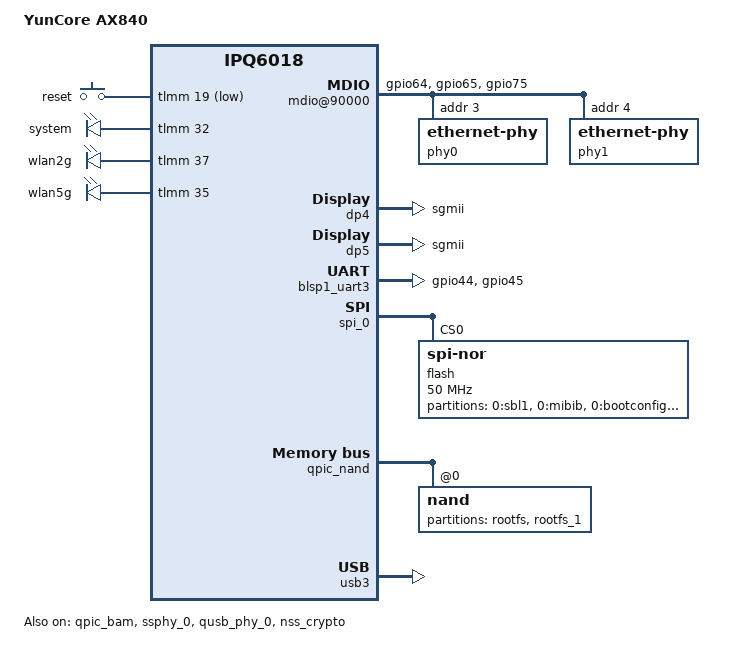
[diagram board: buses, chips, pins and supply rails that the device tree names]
/dts-v1/;
/*
 * Copyright (c) 2019-2021, The Linux Foundation. All rights reserved.
 *
 * Permission to use, copy, modify, and/or distribute this software for any
 * purpose with or without fee is hereby granted, provided that the above
 * copyright notice and this permission notice appear in all copies.
 *
 * THE SOFTWARE IS PROVIDED "AS IS" AND THE AUTHOR DISCLAIMS ALL WARRANTIES
 * WITH REGARD TO THIS SOFTWARE INCLUDING ALL IMPLIED WARRANTIES OF
 * MERCHANTABILITY AND FITNESS. IN NO EVENT SHALL THE AUTHOR BE LIABLE FOR
 * ANY SPECIAL, DIRECT, INDIRECT, OR CONSEQUENTIAL DAMAGES OR ANY DAMAGES
 * WHATSOEVER RESULTING FROM LOSS OF USE, DATA OR PROFITS, WHETHER IN AN
 * ACTION OF CONTRACT, NEGLIGENCE OR OTHER TORTIOUS ACTION, ARISING OUT OF
 * OR IN CONNECTION WITH THE USE OR PERFORMANCE OF THIS SOFTWARE.
 */

#include "ipq6018.dtsi"
#include "ipq6018-cpr-regulator.dtsi"
#include <dt-bindings/input/input.h>

/ {
	#address-cells = <0x2>;
	#size-cells = <0x2>;
	model = "YunCore AX840";
	compatible = "yuncore,ax840", "qcom,ipq6018-cp03", "qcom,ipq6018";
	interrupt-parent = <&intc>;
	qcom,msm-id = <0x1A5 0x0>;

	aliases {
		ethernet0 = &dp5;
		ethernet1 = &dp4;
		serial0 = &blsp1_uart3;
		led-boot = &led_system;
		led-failsafe = &led_system;
		led-running = &led_system;
		led-upgrade = &led_system;
	};

	chosen {
		stdout-path = "serial0:115200n8";
		bootargs-append = " root=/dev/ubiblock0_1 earlycon debug iomem=relaxed";
	};

	keys {
		compatible = "gpio-keys";

		reset {
			label = "reset";
			gpios = <&tlmm 19 GPIO_ACTIVE_LOW>;
			linux,code = <KEY_RESTART>;
		};
	};

	leds {
		compatible = "gpio-leds";

		led_system: led_system {
			label = "system";
			color = "red";
			gpios = <&tlmm 32 GPIO_ACTIVE_HIGH>;
		};

		led_wlan2g {
			label = "wlan2g";
			color = "green";
			gpios = <&tlmm 37 GPIO_ACTIVE_HIGH>;
		};

		led_wlan5g {
			label = "wlan5g";
			color = "blue";
			gpios = <&tlmm 35 GPIO_ACTIVE_HIGH>;
		};
	};
};

&tlmm {
	uart_pins: uart_pins {
		mux {
			pins = "gpio44", "gpio45";
			function = "blsp2_uart";
			drive-strength = <8>;
			bias-pull-down;
		};
	};

	spi_0_pins: spi_0_pins {
		mux {
			pins = "gpio38", "gpio39", "gpio40", "gpio41";
			function = "blsp0_spi";
			drive-strength = <8>;
			bias-pull-down;
		};
	};

	button_pins: button_pins {
		wps_button {
			pins = "gpio9";
			function = "gpio";
			drive-strength = <8>;
			bias-pull-down;
		};
	};

	mdio_pins: mdio_pinmux {
		mux_0 {
			pins = "gpio64";
			function = "mdc";
			drive-strength = <8>;
			bias-pull-up;
		};
		mux_1 {
			pins = "gpio65";
			function = "mdio";
			drive-strength = <8>;
			bias-pull-up;
		};
		mux_2 {
			pins = "gpio75";
			function = "gpio";
			bias-pull-up;
		};
	};

	leds_pins: leds_pins {
		led_blue {
			pins = "gpio35";
			function = "gpio";
			drive-strength = <2>;
			bias-pull-down;
		};

		led_green {
			pins = "gpio37";
			function = "gpio";
			drive-strength = <2>;
			bias-pull-down;
		};

		led_red {
			pins = "gpio32";
			function = "gpio";
			drive-strength = <2>;
			bias-pull-down;
		};
	};

	button_pins: button_pins {
		rst_button {
			pins = "gpio19";
			function = "gpio";
			drive-strength = <8>;
			bias-pull-up;
		};
	};
};

&soc {
	mdio@90000 {
		pinctrl-0 = <&mdio_pins>;
		pinctrl-names = "default";
		phy-reset-gpio = <&tlmm 75 0>;
		status = "ok";
		phy0: ethernet-phy@0 {
			reg = <3>;
		};
		phy1: ethernet-phy@1 {
			reg = <4>;
		};
	};

	ess-switch@3a000000 {
		switch_cpu_bmp =   <0x01>; /* cpu port bitmap */
		switch_lan_bmp =   <0x10>; /* lan port bitmap */
		switch_wan_bmp =   <0x20>; /* wan port bitmap */
		switch_inner_bmp = <0x80>; /*inner port bitmap*/
		switch_mac_mode =  <0x00>; /* mac mode for uniphy instance0*/
		switch_mac_mode1 = <0xff>; /* mac mode for uniphy instance1*/
		switch_mac_mode2 = <0xff>; /* mac mode for uniphy instance2*/

		qcom,port_phyinfo {
			port@3 {
				port_id = <0x04>;
				phy_address = <0x03>;
			};

			port@4 {
				port_id = <0x05>;
				phy_address = <0x04>;
			};
		};
	};
	
	/delete-node/ dp1;
	/delete-node/ dp2;

	dp4: dp4 {
		device_type = "network";
		compatible = "qcom,nss-dp";
		qcom,id = <0x04>;
		reg = <0x3a001600 0x200>;
		qcom,mactype = <0x00>;
		local-mac-address = [00 00 00 00 00 00];
		qcom,link-poll = <0x01>;
		qcom,phy-mdio-addr = <0x03>;
		phy-mode = "sgmii";
		label = "lan";
		status = "ok";
	};

	dp5: dp5 {
		device_type = "network";
		compatible = "qcom,nss-dp";
		qcom,id = <0x05>;
		reg = <0x3a001800 0x200>;
		qcom,mactype = <0x00>;
		local-mac-address = [00 00 00 00 00 00];
		qcom,link-poll = <0x01>;
		qcom,phy-mdio-addr = <0x04>;
		phy-mode = "sgmii";
		label = "wan";
		status = "ok";
	};
};

&blsp1_uart3 {
	pinctrl-0 = <&uart_pins>;
	pinctrl-names = "default";
	status = "ok";
};

&spi_0 {
	status = "okay";
	
	partitions {
		status = "disabled";
	};

	flash@0 {
		#address-cells = <1>;
		#size-cells = <1>;
		reg = <0>;
		compatible = "jedec,spi-nor";
		spi-max-frequency = <50000000>;

		partitions {
			compatible = "fixed-partitions";


			partition@0 {
				reg = <0x00 0xc0000>;
				label = "0:sbl1";
			};

			partition@c0000 {
				reg = <0xc0000 0x10000>;
				label = "0:mibib";
			};

			partition@d0000 {
				reg = <0xd0000 0x20000>;
				label = "0:bootconfig";
			};

			partition@f0000 {
				reg = <0xf0000 0x20000>;
				label = "0:bootconfig1";
			};

			partition@110000 {
				reg = <0x110000 0x1a0000>;
				label = "0:qsee";
			};

			partition@2b0000 {
				reg = <0x2b0000 0x1a0000>;
				label = "0:qsee_1";
			};

			partition@450000 {
				reg = <0x450000 0x10000>;
				label = "0:devcfg";
			};

			partition@460000 {
				reg = <0x460000 0x10000>;
				label = "0:devcfg_1";
			};

			partition@470000 {
				reg = <0x470000 0x40000>;
				label = "0:rpm";
			};

			partition@4b0000 {
				reg = <0x4b0000 0x40000>;
				label = "0:rpm_1";
			};

			partition@4f0000 {
				reg = <0x4f0000 0x10000>;
				label = "0:cdt";
			};

			partition@500000 {
				reg = <0x500000 0x10000>;
				label = "0:cdt_1";
			};

			partition@510000 {
				reg = <0x510000 0x10000>;
				label = "0:appsblenv";
			};

			partition@520000 {
				reg = <0x520000 0xa0000>;
				label = "0:appsbl";
			};

			partition@5c0000 {
				reg = <0x5c0000 0xa0000>;
				label = "0:appsbl_1";
			};

			partition@660000 {
				reg = <0x660000 0x40000>;
				label = "0:art";
			};

		};
	};
};

&qpic_bam {
	status = "ok";
};

&qpic_nand {
	status = "okay";
	partitions {
		status = "disabled";
	};

	nand@0 {
		reg = <0>;

		nand-ecc-strength = <4>;
		nand-ecc-step-size = <512>;
		nand-bus-width = <8>;
	

		partitions {
			compatible = "fixed-partitions";
			#address-cells = <1>;
			#size-cells = <1>;

			partition@0 {
				label = "rootfs";
				reg = <0x0 0x3c00000>;
			};
			partition@3c00000 {
				label = "rootfs_1";
				reg = <0x3c00000 0x3c00000>;
			};
		};
	};
};

&ssphy_0 {
	status = "ok";
};

&qusb_phy_0 {
	status = "ok";
};

&usb3 {
	status = "ok";
};

&nss_crypto {
	status = "ok";
};
